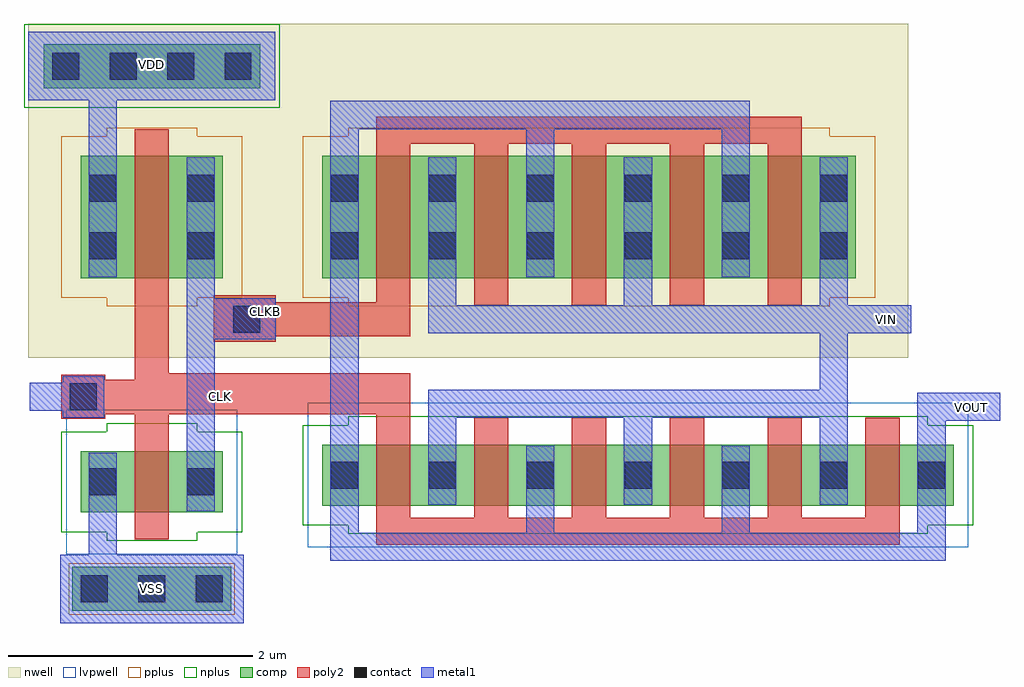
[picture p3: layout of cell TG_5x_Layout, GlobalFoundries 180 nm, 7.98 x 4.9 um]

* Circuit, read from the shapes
.subckt TG_5x_Layout CLK CLKB VDD VIN VOUT VSS
XM1 CLKB CLK VSS VSS nfet_03v3 w=0.5u l=0.28u
XM2 VIN CLK VOUT VSS nfet_03v3 w=0.5u l=0.28u m=6
XM3 CLKB CLK VDD VDD pfet_03v3 w=1u l=0.28u
XM4 VIN CLKB VOUT VDD pfet_03v3 w=1u l=0.28u m=5
.ends

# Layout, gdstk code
import gdstk
lib = gdstk.Library(unit=1e-6, precision=1e-09)
def R(c, l, rs):  # rectangles x0, y0, x1, y1
    for r in rs: c.add(gdstk.rectangle(r[:2], r[2:], *l))
def A(c, l, x, y, w, h, nx, ny, dx, dy):  # array of equal rectangles
    R(c, l, [(x+i*dx, y+j*dy, x+i*dx+w, y+j*dy+h) for i in range(nx) for j in range(ny)])
nwell = (21, 0)
comp = (22, 0)
poly2 = (30, 0)
pplus = (31, 0)
nplus = (32, 0)
contact = (33, 0)
metal1 = (34, 0)
lvpwell = (204, 0)

pmos_3p3_mn2var = lib.new_cell('pmos_3p3_MN2VAR')
R(pmos_3p3_mn2var, nwell, [(-2.61,-1.15,2.61,1.15)])
R(pmos_3p3_mn2var, comp, [(-2.18,-0.5,2.18,0.5)])
A(pmos_3p3_mn2var, poly2, -1.74, -0.72, 0.28, 1.44, 5, 1, 0.8, 0)
R(pmos_3p3_mn2var, pplus, [(-1.97,-0.73,1.97,-0.66), (-2.34,-0.66,2.34,0.66), (-1.97,0.66,1.97,0.73)])
A(pmos_3p3_mn2var, contact, -2.11, -0.345, 0.22, 0.22, 6, 2, 0.8, 0.47)
A(pmos_3p3_mn2var, metal1, -2.115, -0.49, 0.23, 0.98, 6, 1, 0.8, 0)

nmos_3p3_fggst2 = lib.new_cell('nmos_3p3_FGGST2')
R(nmos_3p3_fggst2, comp, [(-2.58,-0.25,2.58,0.25)])
A(nmos_3p3_fggst2, poly2, -2.14, -0.47, 0.28, 0.94, 6, 1, 0.8, 0)
R(nmos_3p3_fggst2, nplus, [(-2.37,-0.48,2.37,-0.41), (-2.74,-0.41,2.74,0.41), (-2.37,0.41,2.37,0.48)])
A(nmos_3p3_fggst2, contact, -2.51, -0.11, 0.22, 0.22, 7, 1, 0.8, 0)
A(nmos_3p3_fggst2, metal1, -2.515, -0.24, 0.23, 0.48, 7, 1, 0.8, 0)
R(nmos_3p3_fggst2, lvpwell, [(-2.7,-0.59,2.7,0.59)])

pmos_3p3_mnvuar = lib.new_cell('pmos_3p3_MNVUAR')
R(pmos_3p3_mnvuar, nwell, [(-1.01,-1.15,1.01,1.15)])
R(pmos_3p3_mnvuar, comp, [(-0.58,-0.5,0.58,0.5)])
R(pmos_3p3_mnvuar, poly2, [(-0.14,-0.72,0.14,0.72)])
R(pmos_3p3_mnvuar, pplus, [(-0.37,-0.73,0.37,-0.66), (-0.74,-0.66,0.74,0.66), (-0.37,0.66,0.37,0.73)])
R(pmos_3p3_mnvuar, contact, [(-0.51,-0.345,-0.29,-0.125), (0.29,-0.345,0.51,-0.125), (-0.51,0.125,-0.29,0.345), (0.29,0.125,0.51,0.345)])
R(pmos_3p3_mnvuar, metal1, [(-0.515,-0.49,-0.285,0.49), (0.285,-0.49,0.515,0.49)])

nfet_03v3_nulyt4 = lib.new_cell('nfet_03v3_NULYT4')
R(nfet_03v3_nulyt4, comp, [(-0.58,-0.25,0.58,0.25)])
R(nfet_03v3_nulyt4, poly2, [(-0.14,-0.47,0.14,0.47)])
R(nfet_03v3_nulyt4, nplus, [(-0.37,-0.48,0.37,-0.41), (-0.74,-0.41,0.74,0.41), (-0.37,0.41,0.37,0.48)])
R(nfet_03v3_nulyt4, contact, [(-0.51,-0.11,-0.29,0.11), (0.29,-0.11,0.51,0.11)])
R(nfet_03v3_nulyt4, metal1, [(-0.515,-0.24,-0.285,0.24), (0.285,-0.24,0.515,0.24)])
R(nfet_03v3_nulyt4, lvpwell, [(-0.7,-0.59,0.7,0.59)])

inverter_layout = lib.new_cell('Inverter_Layout')
R(inverter_layout, nwell, [(-0.31,3.655,1.71,4.28)])
R(inverter_layout, comp, [(0.05,-0.52,1.35,-0.16), (-0.185,3.755,1.585,4.115)])
R(inverter_layout, poly2, [(0.56,0.865,0.84,1.09), (-0.04,1.05,0.32,1.09), (-0.04,1.09,0.84,1.37), (-0.04,1.37,0.32,1.41), (0.56,1.37,0.84,2.23)])
R(inverter_layout, pplus, [(0.02,-0.55,1.38,-0.13)])
R(inverter_layout, nplus, [(-0.345,3.595,1.745,4.275)])
A(inverter_layout, contact, 0.12, -0.45, 0.22, 0.22, 3, 1, 0.47, 0)
A(inverter_layout, contact, -0.115, 3.825, 0.22, 0.22, 4, 1, 0.47, 0)
R(inverter_layout, contact, [(0.03,1.12,0.25,1.34)])
R(inverter_layout, metal1, [(-0.05,-0.62,1.45,-0.06), (0.185,-0.06,0.415,0.49), (0.985,0.705,1.215,1.75), (-0.03,1.06,0.31,1.115), (-0.3,1.115,0.31,1.345), (-0.03,1.345,0.31,1.4), (0.985,1.75,1.7,1.98), (0.985,1.98,1.215,2.35), (0.185,3.045,0.415,3.655), (-0.31,3.655,1.71,4.215)])
inverter_layout.add(gdstk.Reference(pmos_3p3_mnvuar, (0.7,2.7)))
inverter_layout.add(gdstk.Reference(nfet_03v3_nulyt4, (0.7,0.535)))
inverter_layout.add(gdstk.Label('IN', (-0.2,1.23), layer=34, texttype=10))
inverter_layout.add(gdstk.Label('OUT', (1.395,1.865), layer=34, texttype=10))
inverter_layout.add(gdstk.Label('VSS', (0.7,-0.34), layer=22, texttype=0))
inverter_layout.add(gdstk.Label('VDD', (0.7,3.95), layer=34, texttype=10))

tg_5x_layout = lib.new_cell('TG_5x_Layout')
R(tg_5x_layout, nwell, [(1.485,4.335,6.66,4.765)])
R(tg_5x_layout, poly2, [(2.31,0.505,6.59,0.725), (2.31,1.295,2.59,1.575), (0.355,1.575,2.59,1.855), (0.49,1.855,2.59,1.91), (0.98,2.165,1.49,2.21), (0.98,2.21,2.59,2.49), (0.98,2.49,1.49,2.545), (2.31,2.49,2.59,2.715), (2.31,3.7,2.59,3.785), (2.31,3.785,5.79,4.005)])
R(tg_5x_layout, contact, [(1.14,2.24,1.36,2.46)])
A(tg_5x_layout, metal1, 1.935, 0.605, 0.23, 0.37, 3, 1, 1.6, 0)
R(tg_5x_layout, metal1, [(-0.275,-0.135,1.225,0.425), (1.935,0.375,6.965,0.605), (6.735,0.605,6.965,0.99), (5.935,1.105,6.165,1.545), (4.335,1.115,4.565,1.545), (1.935,1.17,2.165,2.77), (2.735,1.17,2.965,1.545), (6.735,1.17,6.965,1.52), (6.735,1.52,7.41,1.75), (2.735,1.545,6.165,1.775), (5.935,1.775,6.165,2.235), (0.99,2.185,1.49,2.52), (2.735,2.235,6.685,2.465), (2.735,2.465,2.965,2.84), (4.335,2.465,4.565,2.895), (5.935,2.465,6.165,2.905), (3.535,3.45,3.765,3.905), (5.135,3.45,5.365,3.905), (1.935,3.53,2.165,3.905), (1.935,3.905,5.365,4.135), (-0.535,4.14,1.485,4.7)])
tg_5x_layout.add(gdstk.Reference(pmos_3p3_mn2var, (4.05,3.185)))
tg_5x_layout.add(gdstk.Reference(nmos_3p3_fggst2, (4.45,1.075)))
tg_5x_layout.add(gdstk.Reference(inverter_layout, (-0.225,0.485)))
tg_5x_layout.add(gdstk.Label('VIN', (6.48,2.35), layer=34, texttype=10))
tg_5x_layout.add(gdstk.Label('VOUT', (7.18,1.63), layer=34, texttype=10))
tg_5x_layout.add(gdstk.Label('VSS', (0.475,0.145), layer=34, texttype=10))
tg_5x_layout.add(gdstk.Label('VDD', (0.475,4.435), layer=34, texttype=10))
tg_5x_layout.add(gdstk.Label('CLK', (1.035,1.715), layer=30, texttype=10))
tg_5x_layout.add(gdstk.Label('CLKB', (1.405,2.415), layer=34, texttype=10))

lib.write_gds('TG_5x_Layout.gds')
